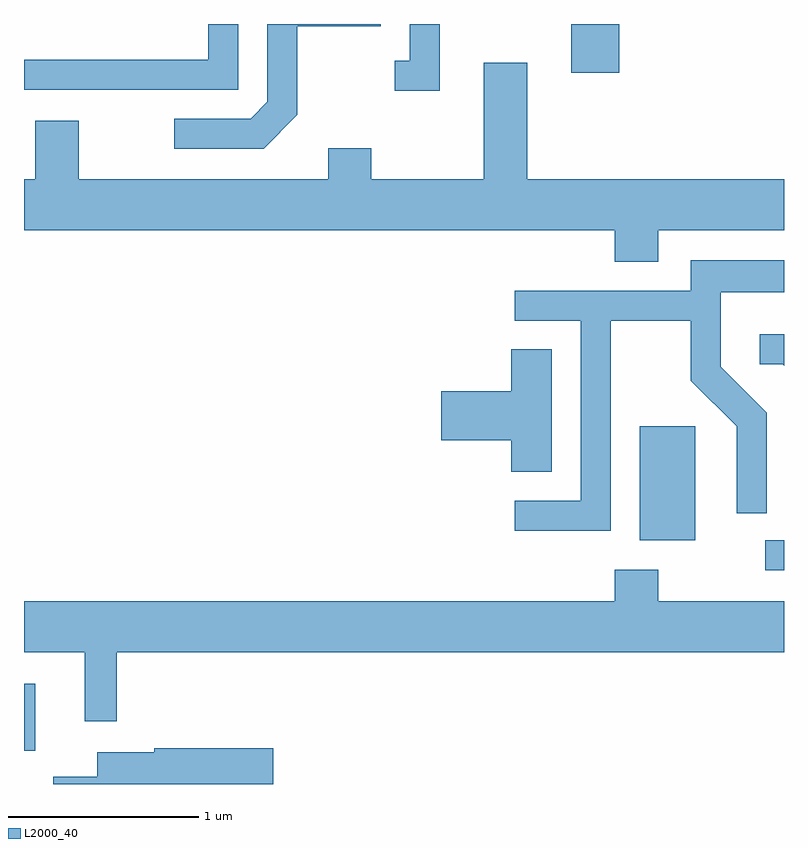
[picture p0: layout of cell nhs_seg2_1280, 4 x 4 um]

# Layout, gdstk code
import gdstk
lib = gdstk.Library(unit=1e-6, precision=1e-09)
def R(c, l, rs):  # rectangles x0, y0, x1, y1
    for r in rs: c.add(gdstk.rectangle(r[:2], r[2:], *l))
def P(c, l, *ps):  # polygons
    for p in ps: c.add(gdstk.Polygon(p, *l))
L2000_40 = (2000, 40)

nhs_seg2_1280 = lib.new_cell('nhs_seg2_1280')
R(nhs_seg2_1280, L2000_40, [(221.611,1089.976,221.669,1090.329), (225.513,1090.926,225.611,1091.084), (224.851,1091.086,225.144,1091.684), (224.491,1093.546,224.744,1093.802)])
P(nhs_seg2_1280, L2000_40, [(222.739,1093.802),(222.581,1093.802),(222.581,1093.614),(221.611,1093.614),(221.611,1093.456),(222.739,1093.456)],
  [(223.799,1093.802),(223.641,1093.802),(223.641,1093.609),(223.563,1093.609),(223.563,1093.451),(223.799,1093.451)],
  [(223.049,1093.324),(223.049,1093.791),(223.489,1093.791),(223.489,1093.802),(222.891,1093.802),(222.891,1093.392),(222.804,1093.304),(222.403,1093.304),(222.403,1093.146),(222.872,1093.146)],
  [(224.949,1092.716),(225.611,1092.716),(225.611,1092.984),(224.259,1092.984),(224.259,1093.599),(224.031,1093.599),(224.031,1092.984),(223.439,1092.984),(223.439,1093.149),(223.211,1093.149),(223.211,1092.984),(221.899,1092.984),(221.899,1093.294),(221.671,1093.294),(221.671,1092.984),(221.611,1092.984),(221.611,1092.716),(224.721,1092.716),(224.721,1092.551),(224.949,1092.551)],
  [(224.699,1092.241),(225.121,1092.241),(225.121,1091.924),(225.361,1091.684),(225.361,1091.228),(225.519,1091.228),(225.519,1091.757),(225.279,1091.997),(225.279,1092.391),(225.611,1092.391),(225.611,1092.559),(225.121,1092.559),(225.121,1092.399),(224.193,1092.399),(224.193,1092.241),(224.541,1092.241),(224.541,1091.294),(224.193,1091.294),(224.193,1091.136),(224.699,1091.136)],
  [(225.611,1092.169),(225.483,1092.169),(225.483,1092.011),(225.604,1092.011),(225.611,1092.004)],
  [(224.389,1092.089),(224.176,1092.089),(224.176,1091.869),(223.806,1091.869),(223.806,1091.611),(224.176,1091.611),(224.176,1091.446),(224.389,1091.446)],
  [(222.099,1090.496),(225.611,1090.496),(225.611,1090.764),(224.949,1090.764),(224.949,1090.929),(224.721,1090.929),(224.721,1090.764),(221.611,1090.764),(221.611,1090.496),(221.931,1090.496),(221.931,1090.133),(222.099,1090.133)],
  [(222.924,1089.989),(222.296,1089.989),(222.296,1089.969),(221.996,1089.969),(221.996,1089.839),(221.766,1089.839),(221.766,1089.802),(222.924,1089.802)])

lib.write_gds('nhs_seg2_1280.gds')
